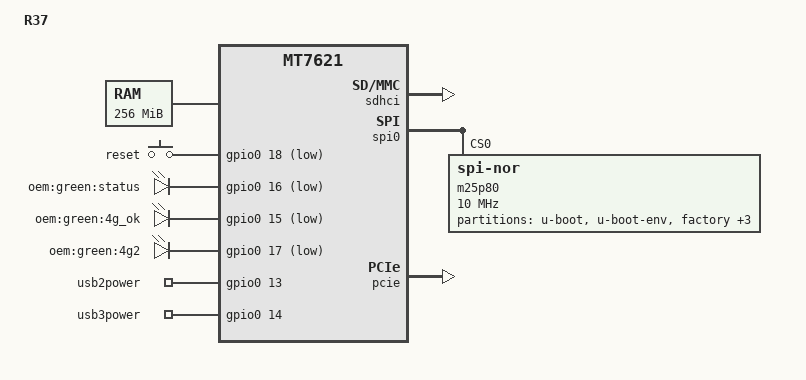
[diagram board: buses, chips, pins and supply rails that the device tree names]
/dts-v1/;

#include "mt7621.dtsi"

#include <dt-bindings/input/input.h>

/ {
	compatible = "OEM,MT7621", "mediatek,mt7621-soc";
	model = "R37";

	memory@0 {
		device_type = "memory";
		reg = <0x0 0x10000000>;
	};

	chosen {
		bootargs = "console=ttyS0,115200";
	};

	gpio-keys-polled {
		compatible = "gpio-keys-polled";
		#address-cells = <1>;
		#size-cells = <0>;
		poll-interval = <20>;

		reset {
			label = "reset";
			gpios = <&gpio0 18 1>;
			linux,code = <KEY_RESTART>;
		};
	};

	gpio-leds {
	        compatible = "gpio-leds";
	        status {
		        label = "oem:green:status";
		        gpios = <&gpio0 16 1>;
	        };
        
	        4g_ok {
		        label = "oem:green:4g_ok";
		        gpios = <&gpio0 15 1>;
	        };

	        4g2 {
		        label = "oem:green:4g2";
		        gpios = <&gpio0 17 1>;
	        };
	};

	gpio_export {
		compatible = "gpio-export";
		#size-cells = <0>;

		usb2power {
			gpio-export,name = "usb2power";
			gpio-export,output = <1>;
			gpios = <&gpio0 13 0>;
		};

		usb3power {
			gpio-export,name = "usb3power";
			gpio-export,output = <1>;
			gpios = <&gpio0 14 0>;
		};
	};
};

&sdhci {
	status = "okay";

	pinctrl-names = "default";
	pinctrl-0 = <&sdhci_pins>;
};

&spi0 {
	status = "okay";

	m25p80@0 {
		#address-cells = <1>;
		#size-cells = <1>;
		compatible = "jedec,spi-nor";
		reg = <0>;
		spi-max-frequency = <10000000>;
		m25p,chunked-io = <32>;

		partition@0 {
			label = "u-boot";
			reg = <0x0 0x30000>;
		};

		partition@30000 {
			label = "u-boot-env";
			reg = <0x30000 0x10000>;
		};

		factory: partition@40000 {
			label = "factory";
			reg = <0x40000 0x10000>;
		};

		backup: partition@1fe0000 {
			label = "backup";
			reg = <0x1fe0000 0x10000>;
		};

		bdinfo: partition@1ff0000 {
			label = "bdinfo";
			reg = <0x1ff0000 0x10000>;
		};

		partition@50000 {
			label = "firmware";
			reg = <0x50000 0x1f90000>;
		};
	};
};

&pcie {
	status = "okay";

	pcie0 {
		mt76@0,0 {
			reg = <0x0000 0 0 0 0>;
			device_type = "pci";
			mediatek,mtd-eeprom = <&factory 0x8000>;
			ieee80211-freq-limit = <5000000 6000000>;
		};
	};

	pcie1 {
		mt76@1,0 {
			reg = <0x0000 0 0 0 0>;
			device_type = "pci";
			mediatek,mtd-eeprom = <&factory 0x0000>;
			ieee80211-freq-limit = <2400000 2500000>;
		};
	};
};

&ethernet {
	mtd-mac-address = <&factory 0x4>;
};

&pinctrl {
	state_default: pinctrl0 {
		gpio {
			ralink,group = "i2c", "uart2", "uart3", "rgmii2", "sdhci";
			ralink,function = "gpio";
		};
	};
};
